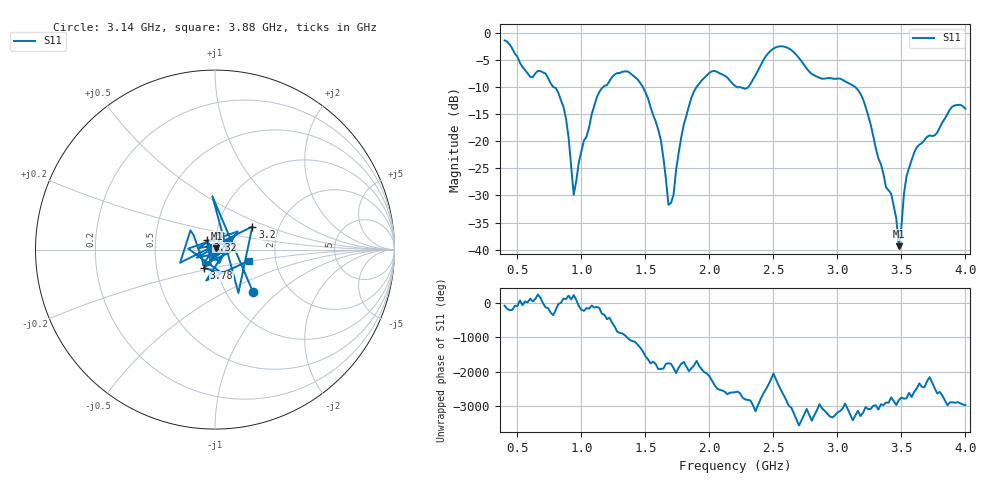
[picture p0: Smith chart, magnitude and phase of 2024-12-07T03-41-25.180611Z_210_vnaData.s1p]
!Created with skrf (http://scikit-rf.org).
# Hz S RI R 50.0
!freq ReS11 ImS11
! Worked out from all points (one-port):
!   181 points, 400 MHz to 4 GHz, reference 50 ohm
!   lowest |S11| = -39.4 dB at 3.48 GHz (marker M1), VSWR 1.02, Z = 50.8 + j0.742 ohm
!   |S11| at or under -10 dB: 779.4 MHz to 1.17 GHz (390.8 MHz wide, 40.1 % of centre); 1.48 GHz to 1.9 GHz (419.4 MHz wide, 24.8 % of centre); 3.138 GHz to end of sweep (the widest 3 of 4)
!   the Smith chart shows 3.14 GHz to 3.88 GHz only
!   S11 on the Smith chart (normalised r, x): 3.14 GHz: 1.33, -0.69; 3.2 GHz: 1.46, +0.40; 3.32 GHz: 0.91, +0.10; 3.78 GHz: 0.87, -0.18; 3.88 GHz: 1.44, -0.19
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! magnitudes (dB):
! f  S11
! 400 MHz  -1.4
! 860 MHz  -13.7
! 900 MHz  -19.4
! 940 MHz  -29.9
! 1.12 GHz  -11.9
! 1.3 GHz  -7.4
! 1.52 GHz  -12.1
! 1.62 GHz  -19.7
! 1.68 GHz  -31.7
! 1.72 GHz  -29.8
! 1.76 GHz  -22.1
! 1.86 GHz  -11.9
! 1.94 GHz  -8.8
! 2.2 GHz  -9.8
! 2.3 GHz  -10.1
! 2.5 GHz  -2.9
! 2.66 GHz  -3.6
! 3.1 GHz  -9.5
! 3.14 GHz  -10.0
! 3.2 GHz  -12.2
! 3.32 GHz  -23.2
! 3.42 GHz  -29.7
! 3.48 GHz  -39.4
! 3.52 GHz  -29.7
! 3.56 GHz  -24.9
! 3.78 GHz  -18.4
! 3.88 GHz  -14.1
! 4 GHz  -14.0
